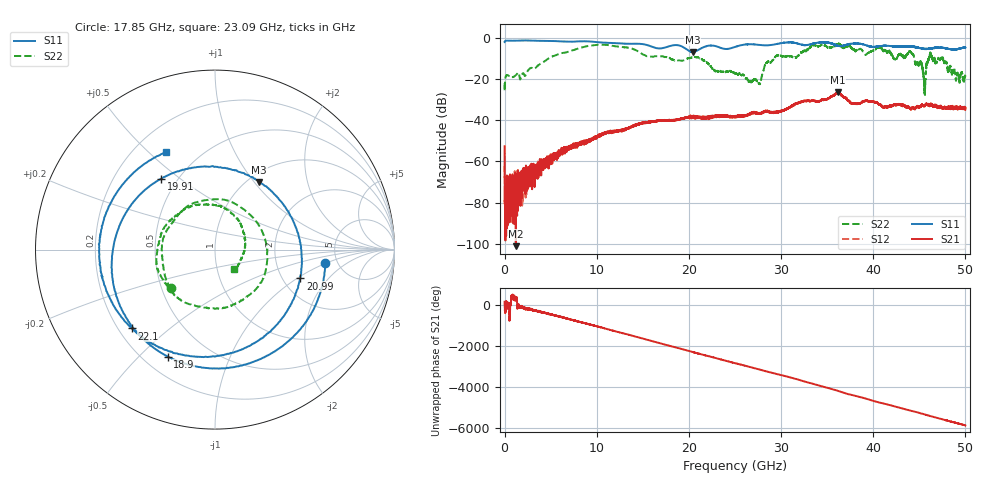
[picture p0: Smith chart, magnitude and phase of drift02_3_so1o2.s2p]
!Created with skrf (http://scikit-rf.org).
# Hz S RI R 50.0
!freq ReS11 ImS11 ReS21 ImS21 ReS12 ImS12 ReS22 ImS22
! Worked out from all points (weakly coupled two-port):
!   10001 points, 300 kHz to 50 GHz, reference 50 ohm
!   highest |S21| = -26.37 dB at 36.13 GHz (marker M1); lowest = -101.1 dB at 1.215 GHz (marker M2)
!   lowest |S11| = -6.9 dB at 20.41 GHz (marker M3), VSWR 2.64, Z = 56 + j53 ohm
!   |S11| at or under -10 dB: nowhere
!   |S22| runs from -27.8 to -2.8 dB; largest |S21 - S12| = 0.0046
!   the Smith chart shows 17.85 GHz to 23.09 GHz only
!   S11 on the Smith chart (normalised r, x): 17.85 GHz: 3.99, -0.96; 18.9 GHz: 0.29, -0.61; 19.91 GHz: 0.41, +0.43; 20.99 GHz: 2.48, -1.07; 22.1 GHz: 0.25, -0.38; 23.09 GHz: 0.33, +0.57
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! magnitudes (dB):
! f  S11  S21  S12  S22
! 300 kHz  -2.1  -52.6  -62.0  -22.0
! 260.3 MHz  -1.4  -81.1  -95.8  -18.2
! 1.215 GHz  -1.4  -101.1  -65.4  -18.2
! 8.335 GHz  -1.7  -51.1  -51.1  -4.8
! 16.67 GHz  -5.2  -40.4  -40.3  -8.9
! 17.85 GHz  -4.2  -40.1  -39.9  -9.8
! 18.9 GHz  -3.7  -39.6  -39.6  -11.0
! 19.91 GHz  -6.1  -38.7  -38.7  -10.0
! 20.41 GHz  -6.9  -38.5  -38.2  -9.7
! 20.99 GHz  -6.0  -38.7  -38.8  -9.5
! 22.1 GHz  -3.9  -38.4  -38.8  -12.7
! 23.09 GHz  -4.3  -38.0  -37.9  -16.2
! 25 GHz  -4.5  -38.6  -38.3  -17.3
! 27.6 GHz  -3.5  -36.6  -36.6  -22.2
! 28.5 GHz  -3.7  -35.5  -35.8  -12.0
! 33.34 GHz  -3.1  -30.7  -30.5  -3.8
! 36.13 GHz  -4.0  -26.4  -26.9  -3.2
! 41.67 GHz  -4.0  -33.3  -33.4  -6.6
! 44.12 GHz  -4.2  -34.3  -34.6  -7.2
! 45.5 GHz  -5.4  -33.0  -33.1  -19.2
! 46.27 GHz  -5.2  -32.4  -32.4  -8.7
! 50 GHz  -4.7  -33.9  -34.2  -18.7
